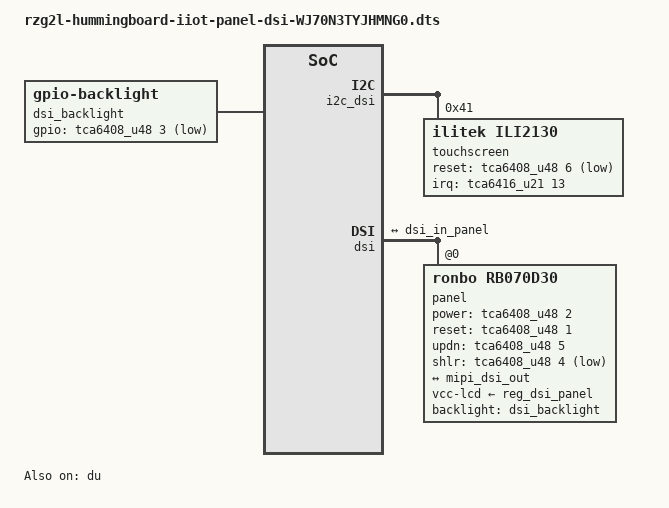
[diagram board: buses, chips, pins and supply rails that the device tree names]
// SPDX-License-Identifier: (GPL-2.0-only OR BSD-2-Clause)
/*
 * Copyright 2025 Josua Mayer <josua@solid-run.com>
 *
 * Overlay for enabling HummingBoard IIoT MIPI-DSI connector
 * with Winstar WJ70N3TYJHMNG0 panel.
 */

/dts-v1/;
/plugin/;

#include <dt-bindings/gpio/gpio.h>
#include <dt-bindings/interrupt-controller/irq.h>

&{/} {
	dsi_backlight: dsi-backlight {
		compatible = "gpio-backlight";
		gpios = <&tca6408_u48 3 GPIO_ACTIVE_LOW>;
	};
};

&i2c_dsi {
	#address-cells = <1>;
	#size-cells = <0>;

	touchscreen@41 {
		compatible = "ilitek,ili2130";
		reg = <0x41>;
		reset-gpios = <&tca6408_u48 6 GPIO_ACTIVE_LOW>;
		interrupts-extended = <&tca6416_u21 13 IRQ_TYPE_LEVEL_LOW>;
	};
};

&dsi {
	#address-cells = <1>;
	#size-cells = <0>;
	status = "okay";

	panel@0 {
		/* This is a Winstar panel, but the ronbo panel uses same controls. */
		compatible = "ronbo,rb070d30";
		reg = <0>;
		vcc-lcd-supply = <&reg_dsi_panel>;
		power-gpios = <&tca6408_u48 2 GPIO_ACTIVE_HIGH>;
		/* reset is active-low but driver inverts it internally */
		reset-gpios = <&tca6408_u48 1 GPIO_ACTIVE_HIGH>;
		updn-gpios = <&tca6408_u48 5 GPIO_ACTIVE_HIGH>;
		shlr-gpios = <&tca6408_u48 4 GPIO_ACTIVE_LOW>;
		backlight = <&dsi_backlight>;

		port {
			dsi_in_panel: endpoint {
				remote-endpoint = <&mipi_dsi_out>;
			};
		};
	};

	ports {
		port@1 {
			mipi_dsi_out: endpoint {
				data-lanes = <1 2 3 4>;
				remote-endpoint = <&dsi_in_panel>;
			};
		};
	};
};

&du {
	status = "okay";
};
